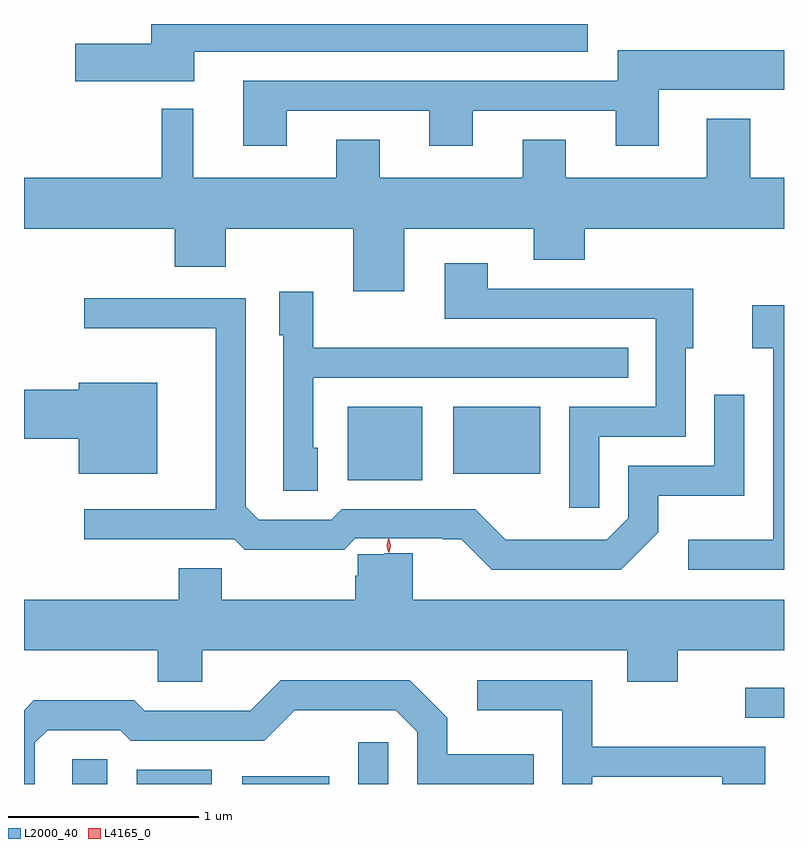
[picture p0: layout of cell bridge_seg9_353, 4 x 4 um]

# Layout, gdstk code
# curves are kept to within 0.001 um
import gdstk
lib = gdstk.Library(unit=1e-6, precision=1e-09)
def R(c, l, rs):  # rectangles x0, y0, x1, y1
    for r in rs: c.add(gdstk.rectangle(r[:2], r[2:], *l))
def P(c, l, *ps):  # polygons
    for p in ps: c.add(gdstk.Polygon(p, *l))
L2000_40 = (2000, 40)
L4165_0 = (4165, 0)

bridge_seg9_353 = lib.new_cell('bridge_seg9_353')
R(bridge_seg9_353, L2000_40, [(965.981,1984.453,966.164,1984.584), (966.321,1984.453,966.714,1984.529), (966.876,1984.453,967.334,1984.494), (967.486,1984.453,967.644,1984.673), (969.523,1984.801,969.727,1984.959), (967.431,1986.051,967.824,1986.439), (967.986,1986.086,968.444,1986.439)])
P(bridge_seg9_353, L2000_40, [(966.624,1988.306),(968.693,1988.306),(968.693,1988.453),(966.396,1988.453),(966.396,1988.349),(965.996,1988.349),(965.996,1988.151),(966.624,1988.151)],
  [(967.109,1987.996),(967.861,1987.996),(967.861,1987.811),(968.089,1987.811),(968.089,1987.996),(968.841,1987.996),(968.841,1987.811),(969.069,1987.811),(969.069,1988.106),(969.727,1988.106),(969.727,1988.314),(968.851,1988.314),(968.851,1988.154),(966.881,1988.154),(966.881,1987.811),(967.109,1987.811)],
  [(967.729,1987.376),(968.411,1987.376),(968.411,1987.211),(968.679,1987.211),(968.679,1987.376),(969.727,1987.376),(969.727,1987.644),(969.549,1987.644),(969.549,1987.954),(969.321,1987.954),(969.321,1987.644),(968.579,1987.644),(968.579,1987.844),(968.351,1987.844),(968.351,1987.644),(967.599,1987.644),(967.599,1987.844),(967.371,1987.844),(967.371,1987.644),(966.619,1987.644),(966.619,1988.008),(966.451,1988.008),(966.451,1987.644),(965.727,1987.644),(965.727,1987.376),(966.521,1987.376),(966.521,1987.176),(966.789,1987.176),(966.789,1987.376),(967.461,1987.376),(967.461,1987.046),(967.729,1987.046)],
  [(968.754,1986.281),(969.209,1986.281),(969.209,1986.746),(969.249,1986.746),(969.249,1987.059),(968.169,1987.059),(968.169,1987.194),(967.941,1987.194),(967.941,1986.901),(969.051,1986.901),(969.051,1986.439),(968.596,1986.439),(968.596,1985.908),(968.754,1985.908)],
  [(967.274,1986.224),(967.249,1986.224),(967.249,1986.591),(968.908,1986.591),(968.908,1986.749),(967.249,1986.749),(967.249,1987.044),(967.071,1987.044),(967.071,1986.816),(967.091,1986.816),(967.091,1985.996),(967.274,1985.996)],
  [(969.064,1985.779),(969.064,1985.971),(969.519,1985.971),(969.519,1986.503),(969.361,1986.503),(969.361,1986.129),(968.906,1986.129),(968.906,1985.852),(968.794,1985.739),(968.262,1985.739),(968.102,1985.899),(967.399,1985.899),(967.344,1985.844),(966.962,1985.844),(966.894,1985.912),(966.894,1987.009),(966.043,1987.009),(966.043,1986.851),(966.736,1986.851),(966.736,1985.899),(966.043,1985.899),(966.043,1985.741),(966.834,1985.741),(966.889,1985.686),(967.412,1985.687),(967.471,1985.746),(967.93,1985.746),(967.93,1985.741),(968.029,1985.741),(968.189,1985.581),(968.867,1985.581)],
  [(969.727,1986.974),(969.561,1986.974),(969.561,1986.746),(969.671,1986.746),(969.671,1985.739),(969.223,1985.739),(969.223,1985.581),(969.727,1985.581)],
  [(966.429,1986.564),(966.016,1986.564),(966.016,1986.529),(965.727,1986.529),(965.727,1986.271),(966.016,1986.271),(966.016,1986.086),(966.429,1986.086)],
  [(966.664,1985.156),(968.901,1985.156),(968.901,1984.991),(969.169,1984.991),(969.169,1985.156),(969.727,1985.156),(969.727,1985.424),(967.774,1985.424),(967.774,1985.668),(967.622,1985.668),(967.622,1985.663),(967.484,1985.663),(967.484,1985.548),(967.47,1985.548),(967.47,1985.424),(966.769,1985.424),(966.769,1985.589),(966.541,1985.589),(966.541,1985.424),(965.727,1985.424),(965.727,1985.156),(966.431,1985.156),(966.431,1984.991),(966.664,1984.991)],
  [(965.784,1984.669),(965.852,1984.736),(966.234,1984.736),(966.289,1984.681),(966.992,1984.681),(967.152,1984.841),(967.684,1984.841),(967.796,1984.729),(967.796,1984.453),(968.409,1984.453),(968.409,1984.609),(967.954,1984.609),(967.954,1984.802),(967.757,1984.999),(967.079,1984.999),(966.919,1984.839),(966.362,1984.839),(966.307,1984.894),(965.779,1984.894),(965.727,1984.842),(965.727,1984.453),(965.784,1984.453)],
  [(968.719,1984.491),(969.401,1984.491),(969.401,1984.453),(969.629,1984.453),(969.629,1984.649),(968.719,1984.649),(968.719,1984.999),(968.113,1984.999),(968.113,1984.841),(968.561,1984.841),(968.561,1984.453),(968.719,1984.453)])
P(bridge_seg9_353, L4165_0, [(967.648,1985.672),(967.648,1985.672),(967.638,1985.707),(967.648,1985.742),(967.648,1985.743),(967.649,1985.742),(967.658,1985.707),(967.649,1985.672)],
  [(967.645,1985.675),(967.636,1985.708),(967.645,1985.74),(967.646,1985.741),(967.646,1985.74),(967.656,1985.708),(967.646,1985.675),(967.646,1985.675)])

lib.write_gds('bridge_seg9_353.gds')
